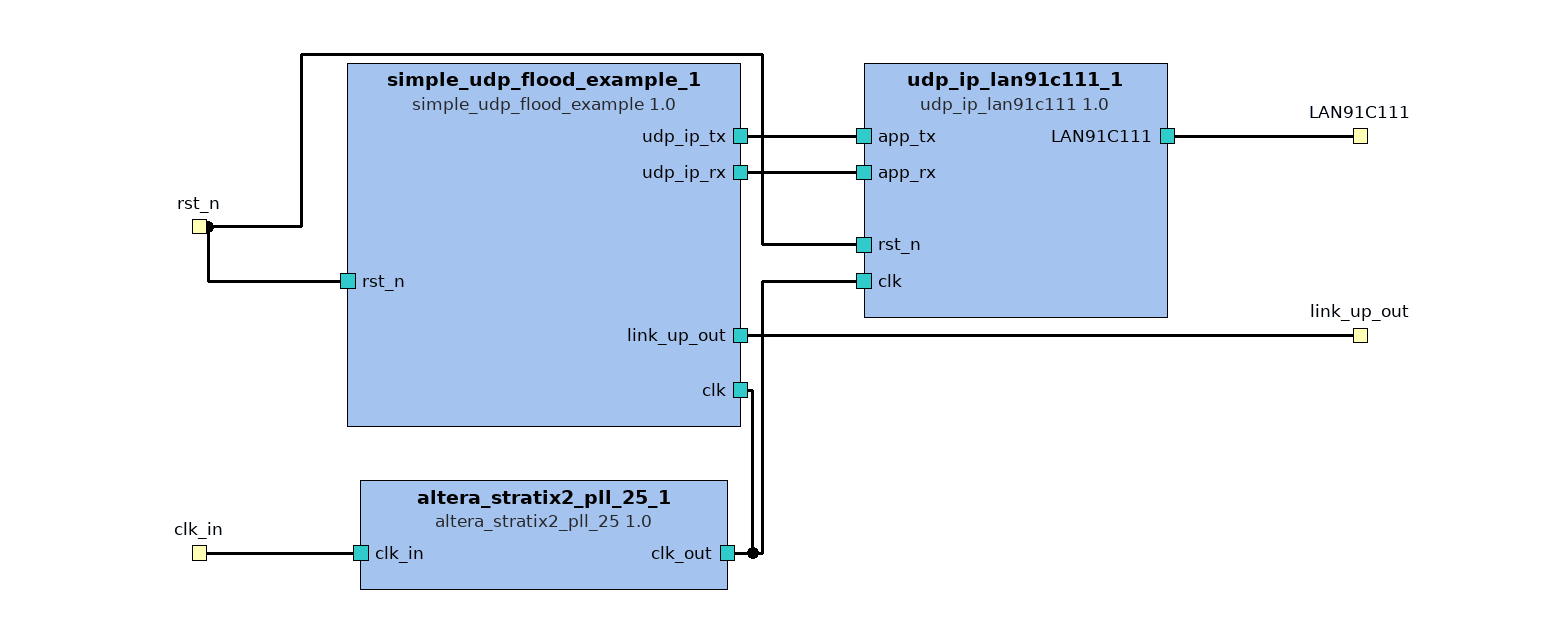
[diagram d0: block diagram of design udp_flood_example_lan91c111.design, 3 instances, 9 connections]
<?xml version="1.0" encoding="UTF-8"?>
<!-- Created by Kactus 2 document generator 18:45:23 ti marras 8 2011 -->
<spirit:design><spirit:vendor>TUT</spirit:vendor><spirit:library>soc</spirit:library><spirit:name>udp_flood_example_lan91c111.design</spirit:name><spirit:version>1.0</spirit:version><spirit:componentInstances>
 <spirit:componentInstance><spirit:instanceName>udp_ip_lan91c111_1</spirit:instanceName><spirit:componentRef spirit:vendor="TUT" spirit:library="ip.hwp.interface" spirit:name="udp_ip_lan91c111" spirit:version="1.0"/></spirit:componentInstance>
 <spirit:componentInstance><spirit:instanceName>simple_udp_flood_example_1</spirit:instanceName><spirit:componentRef spirit:vendor="TUT" spirit:library="ip.hwp.interface" spirit:name="simple_udp_flood_example" spirit:version="1.0"/></spirit:componentInstance>
 <spirit:componentInstance><spirit:instanceName>altera_stratix2_pll_25_1</spirit:instanceName><spirit:componentRef spirit:vendor="TUT" spirit:library="ip.hwp.misc" spirit:name="altera_stratix2_pll_25" spirit:version="1.0"/></spirit:componentInstance>
</spirit:componentInstances><spirit:interconnections>
 <spirit:interconnection><spirit:name>altera_stratix2_pll_25_1_clk_out_to_udp_ip_lan91c111_1_clk</spirit:name><spirit:activeInterface spirit:componentRef="altera_stratix2_pll_25_1" spirit:busRef="clk_out"/><spirit:activeInterface spirit:componentRef="udp_ip_lan91c111_1" spirit:busRef="clk"/></spirit:interconnection>
 <spirit:interconnection><spirit:name>altera_stratix2_pll_25_1_clk_out_to_simple_udp_flood_example_1_clk</spirit:name><spirit:activeInterface spirit:componentRef="altera_stratix2_pll_25_1" spirit:busRef="clk_out"/><spirit:activeInterface spirit:componentRef="simple_udp_flood_example_1" spirit:busRef="clk"/></spirit:interconnection>
 <spirit:interconnection><spirit:name>udp_ip_lan91c111_1_app_rx_to_simple_udp_flood_example_1_udp_ip_rx</spirit:name><spirit:activeInterface spirit:componentRef="udp_ip_lan91c111_1" spirit:busRef="app_rx"/><spirit:activeInterface spirit:componentRef="simple_udp_flood_example_1" spirit:busRef="udp_ip_rx"/></spirit:interconnection>
 <spirit:interconnection><spirit:name>simple_udp_flood_example_1_udp_ip_tx_to_udp_ip_lan91c111_1_app_tx</spirit:name><spirit:activeInterface spirit:componentRef="simple_udp_flood_example_1" spirit:busRef="udp_ip_tx"/><spirit:activeInterface spirit:componentRef="udp_ip_lan91c111_1" spirit:busRef="app_tx"/></spirit:interconnection>
</spirit:interconnections><spirit:hierConnections>
 <spirit:hierConnection spirit:interfaceRef="rst_n"><spirit:interface spirit:componentRef="udp_ip_lan91c111_1" spirit:busRef="rst_n"/></spirit:hierConnection>
 <spirit:hierConnection spirit:interfaceRef="rst_n"><spirit:interface spirit:componentRef="simple_udp_flood_example_1" spirit:busRef="rst_n"/></spirit:hierConnection>
 <spirit:hierConnection spirit:interfaceRef="link_up_out"><spirit:interface spirit:componentRef="simple_udp_flood_example_1" spirit:busRef="link_up_out"/></spirit:hierConnection>
 <spirit:hierConnection spirit:interfaceRef="LAN91C111"><spirit:interface spirit:componentRef="udp_ip_lan91c111_1" spirit:busRef="LAN91C111"/></spirit:hierConnection>
 <spirit:hierConnection spirit:interfaceRef="clk_in"><spirit:interface spirit:componentRef="altera_stratix2_pll_25_1" spirit:busRef="clk_in"/></spirit:hierConnection>
</spirit:hierConnections></spirit:design>

